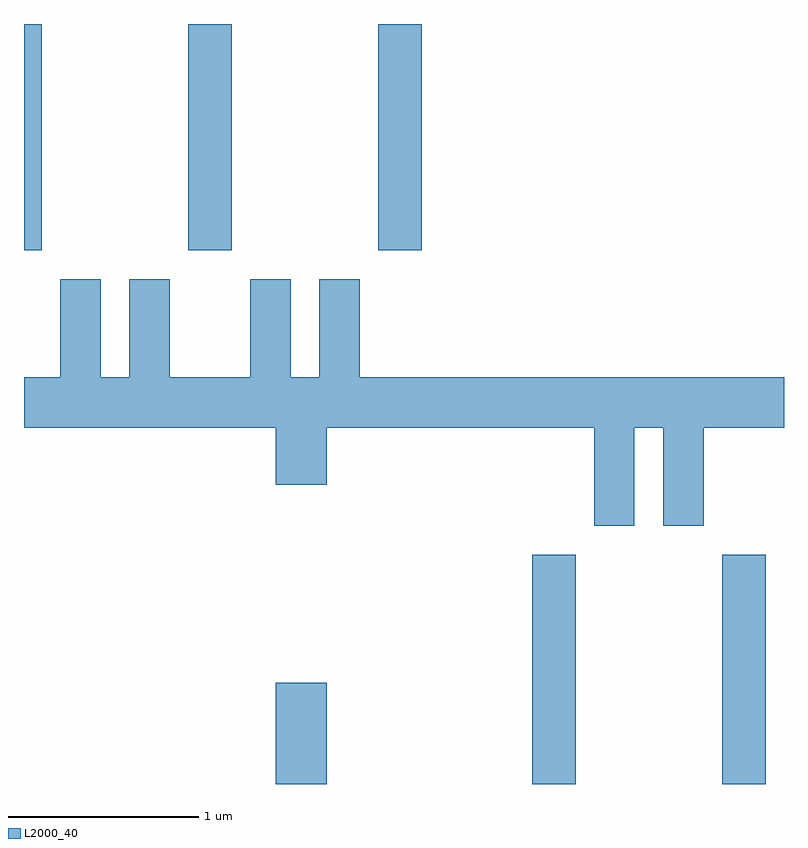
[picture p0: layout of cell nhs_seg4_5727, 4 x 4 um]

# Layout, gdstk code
import gdstk
lib = gdstk.Library(unit=1e-6, precision=1e-09)
def R(c, l, rs):  # rectangles x0, y0, x1, y1
    for r in rs: c.add(gdstk.rectangle(r[:2], r[2:], *l))
def P(c, l, *ps):  # polygons
    for p in ps: c.add(gdstk.Polygon(p, *l))
L2000_40 = (2000, 40)

nhs_seg4_5727 = lib.new_cell('nhs_seg4_5727')
R(nhs_seg4_5727, L2000_40, [(354.936,1283.982,355.204,1284.514), (356.286,1283.982,356.514,1285.189), (357.286,1283.982,357.514,1285.189), (353.611,1286.791,353.704,1287.982), (354.476,1286.791,354.704,1287.982), (355.476,1286.791,355.704,1287.982)])
P(nhs_seg4_5727, L2000_40, [(356.824,1285.856),(356.976,1285.856),(356.976,1285.341),(357.189,1285.341),(357.189,1285.856),(357.611,1285.856),(357.611,1286.124),(355.379,1286.124),(355.379,1286.639),(355.166,1286.639),(355.166,1286.124),(355.014,1286.124),(355.014,1286.639),(354.801,1286.639),(354.801,1286.124),(354.379,1286.124),(354.379,1286.639),(354.166,1286.639),(354.166,1286.124),(354.014,1286.124),(354.014,1286.639),(353.801,1286.639),(353.801,1286.124),(353.611,1286.124),(353.611,1285.856),(354.936,1285.856),(354.936,1285.556),(355.204,1285.556),(355.204,1285.856),(356.611,1285.856),(356.611,1285.341),(356.824,1285.341)])

lib.write_gds('nhs_seg4_5727.gds')
